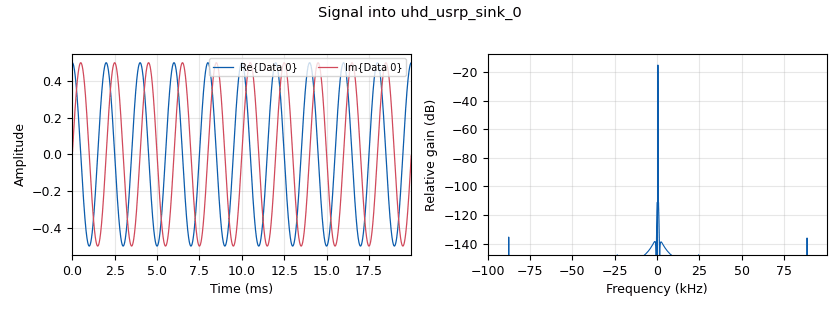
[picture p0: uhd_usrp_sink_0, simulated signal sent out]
<?xml version='1.0' encoding='utf-8'?>
<?grc format='1' created='3.7.12'?>
<flow_graph>
<block>
<key>options</key>
<param><key>id</key><value>top_block</value></param>
<param><key>generate_options</key><value>qt_gui</value></param>
</block>
<block>
<key>variable_qtgui_range</key>
<param><key>id</key><value>amp</value></param>
<param><key>value</key><value>0.5</value></param>
<param><key>label</key><value>Amplitude</value></param>
<param><key>orient</key><value>Qt.Horizontal</value></param>
<param><key>start</key><value>0</value></param>
<param><key>step</key><value>0.1</value></param>
<param><key>stop</key><value>1</value></param>
</block>
<block>
<key>variable_qtgui_range</key>
<param><key>id</key><value>freq</value></param>
<param><key>value</key><value>500</value></param>
<param><key>label</key><value>Frequence</value></param>
<param><key>orient</key><value>Qt.Horizontal</value></param>
<param><key>start</key><value>0</value></param>
<param><key>step</key><value>1</value></param>
<param><key>stop</key><value>20000</value></param>
</block>
<block>
<key>variable</key>
<param><key>id</key><value>samp_rate</value></param>
<param><key>value</key><value>200000</value></param>
</block>
<block>
<key>analog_sig_source_x</key>
<param><key>id</key><value>analog_sig_source_x_0</value></param>
<param><key>amp</key><value>amp</value></param>
<param><key>freq</key><value>freq</value></param>
<param><key>offset</key><value>0</value></param>
<param><key>type</key><value>complex</value></param>
<param><key>samp_rate</key><value>samp_rate</value></param>
<param><key>waveform</key><value>analog.GR_COS_WAVE</value></param>
</block>
<block>
<key>qtgui_sink_x</key>
<param><key>id</key><value>qtgui_sink_x_0</value></param>
<param><key>bw</key><value>samp_rate</value></param>
<param><key>fc</key><value>0</value></param>
<param><key>freqchangevar</key><value>None</value></param>
<param><key>fftsize</key><value>1024</value></param>
<param><key>showports</key><value>True</value></param>
<param><key>type</key><value>complex</value></param>
<param><key>wintype</key><value>firdes.WIN_BLACKMAN_hARRIS</value></param>
</block>
<block>
<key>uhd_usrp_sink</key>
<param><key>id</key><value>uhd_usrp_sink_0</value></param>
<param><key>ant0</key><value></value></param>
<param><key>center_freq0</key><value>0</value></param>
<param><key>norm_gain0</key><value>False</value></param>
<param><key>gain0</key><value>0</value></param>
<param><key>clock_rate</key><value>0.0</value></param>
<param><key>dev_addr</key><value>adr="192.168.10.2"</value></param>
<param><key>dev_args</key><value>type=usrp2</value></param>
<param><key>type</key><value>fc32</value></param>
<param><key>samp_rate</key><value>samp_rate</value></param>
<param><key>hide_cmd_port</key><value>False</value></param>
<param><key>hide_lo_controls</key><value>True</value></param>
<param><key>sync</key><value></value></param>
<param><key>len_tag_name</key><value></value></param>
</block>
<block>
<key>uhd_usrp_source</key>
<param><key>id</key><value>uhd_usrp_source_0</value></param>
<param><key>ant0</key><value></value></param>
<param><key>center_freq0</key><value>0</value></param>
<param><key>dc_offs_enb0</key><value>""</value></param>
<param><key>iq_imbal_enb0</key><value>""</value></param>
<param><key>norm_gain0</key><value>False</value></param>
<param><key>gain0</key><value>0</value></param>
<param><key>clock_rate</key><value>0.0</value></param>
<param><key>dev_addr</key><value>adr="192.168.10.2"</value></param>
<param><key>dev_args</key><value>type=usrp2</value></param>
<param><key>type</key><value>fc32</value></param>
<param><key>samp_rate</key><value>samp_rate</value></param>
<param><key>hide_cmd_port</key><value>False</value></param>
<param><key>hide_lo_controls</key><value>True</value></param>
<param><key>sync</key><value></value></param>
</block>
<connection><source_block_id>analog_sig_source_x_0</source_block_id><sink_block_id>uhd_usrp_sink_0</sink_block_id><source_key>0</source_key><sink_key>0</sink_key></connection>
<connection><source_block_id>uhd_usrp_source_0</source_block_id><sink_block_id>qtgui_sink_x_0</sink_block_id><source_key>0</source_key><sink_key>0</sink_key></connection>
</flow_graph>
